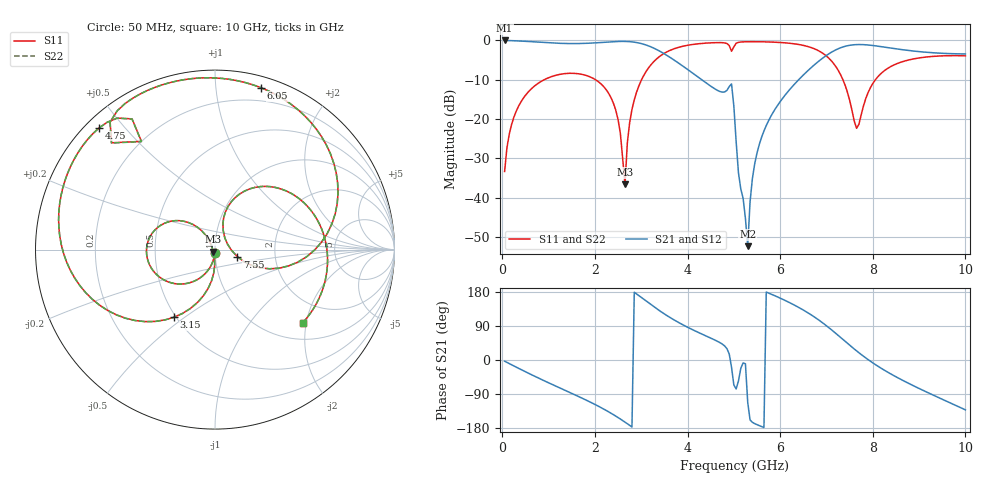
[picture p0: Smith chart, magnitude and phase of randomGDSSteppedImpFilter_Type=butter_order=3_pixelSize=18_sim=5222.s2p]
! freq	dB(S11)	phase(S11)	dB(S12)	phase(S12)
!  dB(S21)	phase(S21)	dB(S22)	phase(S22)
!S-par simulation data
#  GHz  S  DB  R 50
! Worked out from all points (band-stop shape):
!   200 points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, 50 MHz to 10 GHz, reference 50 ohm
!   highest |S21| = 0.00 dB at 50 MHz (marker M1); lowest = -52.4 dB at 5.3 GHz (marker M2)
!   |S21| within 3 dB of the highest: start of sweep to 3.441 GHz; 7.107 GHz to 9.15 GHz (2.043 GHz wide, 25.1 % of centre)
!   lowest |S11| = -36.6 dB at 2.65 GHz (marker M3), VSWR 1.03, Z = 49 - j1.1 ohm
!   |S11| at or under -10 dB: start of sweep to 905.2 MHz; 2.012 GHz to 3.008 GHz (995.8 MHz wide, 39.7 % of centre); 7.355 GHz to 8.058 GHz (702.8 MHz wide, 9.12 % of centre)
!   |S22| runs from -36.7 to -0.3 dB; largest |S21 - S12| = 0
!   S11 on the Smith chart (normalised r, x): 50 MHz: 1.00, -0.04; 3.15 GHz: 0.49, -0.46; 4.75 GHz: 0.04, +0.43; 6.05 GHz: 0.09, +1.32; 7.55 GHz: 1.28, -0.10; 10 GHz: 1.40, -1.91
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0.05  -33.36 -93.3  -0.00 -3.2  -0.00 -3.2  -33.36 -93.3
0.2  -21.42 -102.9  -0.05 -12.6  -0.05 -12.6  -21.42 -102.9
0.5  -13.97 -121.6  -0.23 -31.0  -0.23 -31.0  -13.97 -121.6
1.75  -8.72 167.6  -0.76 -102.3  -0.76 -102.3  -8.72 167.6
2.4  -16.00 128.1  -0.32 -144.2  -0.32 -144.2  -16.00 128.1
2.65  -36.58 -131.0  -0.25 -163.9  -0.25 -163.9  -36.66 -130.5
2.8  -17.58 -93.2  -0.36 -176.8  -0.36 -176.8  -17.58 -93.1
3.15  -7.12 -121.2  -1.35 151.5  -1.35 151.5  -7.12 -121.1
3.4  -4.05 -142.4  -2.73 129.7  -2.73 129.7  -4.05 -142.4
4  -1.23 175.2  -7.37 86.5  -7.37 86.5  -1.23 175.2
4.75  -0.57 133.5  -13.16 42.0  -13.16 42.0  -0.57 133.6
4.95  -2.75 124.2  -11.07 -18.9  -11.07 -18.9  -2.75 124.3
5.05  -0.72 129.4  -25.77 -76.3  -25.77 -76.3  -0.72 129.5
5.3  -0.33 113.0  -52.37 -112.0  -52.37 -112.0  -0.32 113.1
5.4  -0.32 107.8  -35.20 -164.4  -35.20 -164.4  -0.32 107.9
5.5  -0.33 102.8  -28.66 -170.6  -28.66 -170.6  -0.33 102.8
6.05  -0.56 74.1  -14.78 160.5  -14.78 160.5  -0.56 74.2
6.7  -1.94 32.4  -6.61 116.7  -6.61 116.7  -1.94 32.4
7.55  -17.74 -17.4  -1.15 34.1  -1.15 34.1  -17.74 -17.3
7.65  -22.36 22.0  -1.05 24.1  -1.05 24.1  -22.35 22.1
8.35  -6.91 51.3  -1.87 -34.1  -1.87 -34.1  -6.91 51.3
10  -3.93 -39.7  -3.44 -131.5  -3.44 -131.5  -3.93 -39.7
